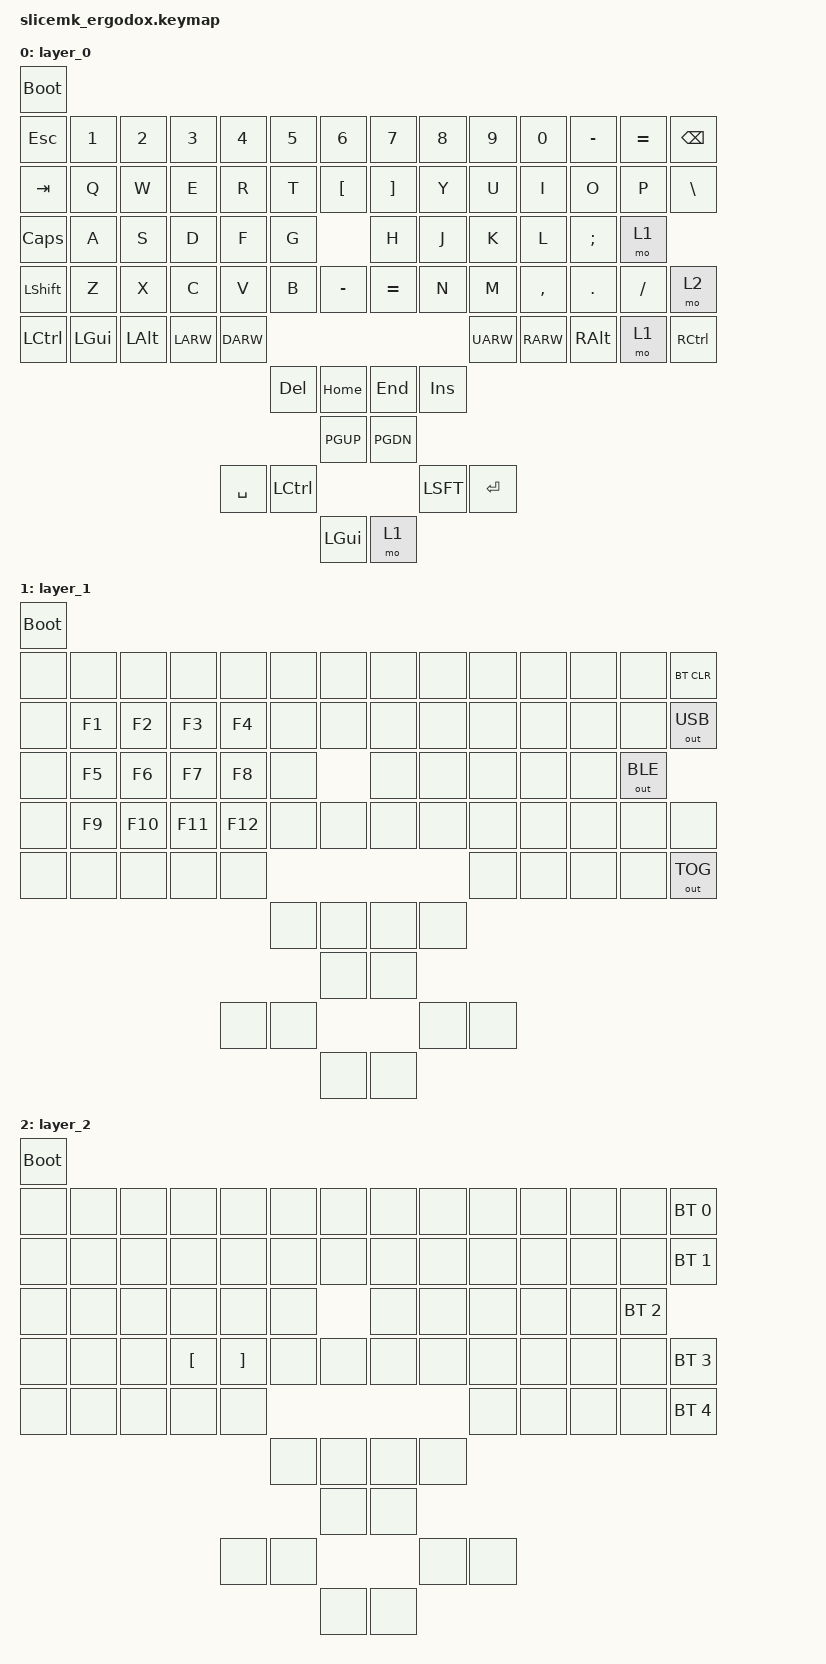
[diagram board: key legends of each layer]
#include <behaviors.dtsi>
#include <dt-bindings/zmk/bt.h>
#include <dt-bindings/zmk/keys.h>
#include <dt-bindings/zmk/outputs.h>

/ {
        keymap {
                compatible = "zmk,keymap";

                layer_0 {
                        bindings = <
    &bootloader
    &kp ESC        &kp NUM_1  &kp NUM_2  &kp NUM_3  &kp NUM_4  &kp NUM_5  &kp NUM_6  &kp NUM_7  &kp NUM_8  &kp NUM_9  &kp NUM_0  &kp MINUS  &kp EQUAL  &kp BKSP
    &kp TAB        &kp Q      &kp W      &kp E      &kp R      &kp T      &kp LBKT   &kp RBKT   &kp Y      &kp U      &kp I      &kp O      &kp P      &kp BSLH
    &kp CLCK &kp A      &kp S      &kp D      &kp F      &kp G                            &kp H      &kp J      &kp K      &kp L      &kp SCLN   &mo 1
    &kp LSHFT      &kp Z      &kp X      &kp C      &kp V      &kp B      &kp MINUS  &kp EQUAL  &kp N      &kp M      &kp CMMA   &kp DOT    &kp FSLH   &mo 2
    &kp LCTRL      &kp LGUI   &kp LALT   &kp LARW   &kp DARW                                               &kp UARW   &kp RARW   &kp RALT   &mo 1      &kp RCTRL
                                                               &kp DEL    &kp HOME   &kp END    &kp INS
                                                                          &kp PGUP   &kp PGDN
                                                    &kp SPC    &kp LCTL                         &kp LSFT   &kp RET
                                                                          &kp LGUI   &mo 1
                        >;
                };

                layer_1 {
                        bindings = <
    &bootloader
    &none      &none      &none      &none      &none      &none      &none      &none      &none      &none      &none      &none      &none      &bt BT_CLR
    &none      &kp F1     &kp F2     &kp F3     &kp F4     &none      &none      &none      &none      &none      &none      &none      &none      &out OUT_USB
    &none      &kp F5     &kp F6     &kp F7     &kp F8     &none                            &none      &none      &none      &none      &none      &out OUT_BLE
    &none      &kp F9     &kp F10    &kp F11    &kp F12    &none      &none      &none      &none      &none      &none      &none      &none      &none
    &none      &none      &none      &none      &none                                                  &none      &none      &none      &none      &out OUT_TOG
                                                           &none      &none      &none      &none
                                                                      &none      &none
                                                &none      &none                            &none      &none
                                                                      &none      &none
                        >;
                };

                layer_2 {
                        bindings = <
    &bootloader
    &none      &none      &none      &none      &none      &none      &none      &none      &none      &none      &none      &none      &none      &bt BT_SEL 0
    &none      &none      &none      &none      &none      &none      &none      &none      &none      &none      &none      &none      &none      &bt BT_SEL 1
    &none      &none      &none      &none      &none      &none                            &none      &none      &none      &none      &none      &bt BT_SEL 2
    &none      &none      &none      &kp LBKT   &kp RBKT   &none      &none      &none      &none      &none      &none      &none      &none      &bt BT_SEL 3
    &none      &none      &none      &none      &none                                                  &none      &none      &none      &none      &bt BT_SEL 4
                                                           &none      &none      &none      &none
                                                                      &none      &none
                                                &none      &none                            &none      &none
                                                                      &none      &none
                        >;
                };

        };
};
